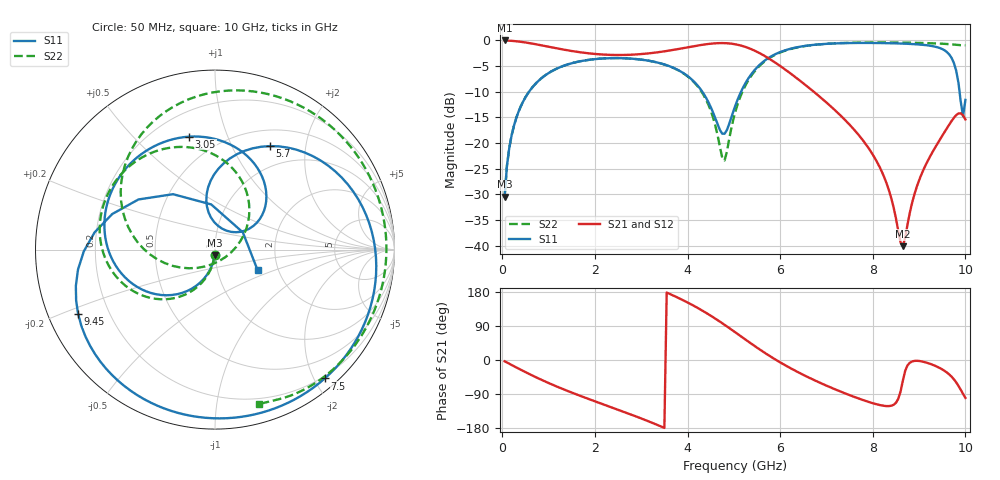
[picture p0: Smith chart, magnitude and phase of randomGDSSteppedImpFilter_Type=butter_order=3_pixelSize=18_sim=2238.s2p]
! freq	dB(S11)	phase(S11)	dB(S12)	phase(S12)
!  dB(S21)	phase(S21)	dB(S22)	phase(S22)
!S-par simulation data
#  GHz  S  DB  R 50
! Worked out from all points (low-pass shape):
!   200 points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, 50 MHz to 10 GHz, reference 50 ohm
!   highest |S21| = -0.01 dB at 50 MHz (marker M1); lowest = -40.1 dB at 8.65 GHz (marker M2)
!   |S21| within 3 dB of the highest: start of sweep to 5.661 GHz
!   lowest |S11| = -30.4 dB at 50 MHz (marker M3), VSWR 1.06, Z = 49.7 - j2.98 ohm
!   |S11| at or under -10 dB: start of sweep to 578 MHz; 4.319 GHz to 5.155 GHz (836.1 MHz wide, 17.7 % of centre); 9.874 GHz to end of sweep
!   |S22| runs from -30.4 to -0.4 dB; largest |S21 - S12| = 0
!   S11 on the Smith chart (normalised r, x): 50 MHz: 0.99, -0.06; 3.05 GHz: 0.34, +0.74; 5.7 GHz: 0.70, +1.41; 7.5 GHz: 0.17, -2.16; 9.45 GHz: 0.09, -0.22; 10 GHz: 1.56, -0.38
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0.05  -30.45 -93.6  -0.01 -3.3  -0.01 -3.3  -30.45 -93.3
0.2  -18.55 -104.2  -0.08 -13.1  -0.08 -13.1  -18.55 -102.9
0.5  -11.08 -124.1  -0.40 -32.0  -0.40 -32.0  -11.08 -121.0
1.05  -6.09 -157.2  -1.32 -63.4  -1.32 -63.4  -6.08 -150.7
1.75  -3.95 166.2  -2.39 -97.7  -2.39 -97.7  -3.94 177.5
3.05  -3.80 102.9  -2.62 -156.6  -2.62 -156.6  -3.80 123.7
3.4  -4.42 84.7  -2.26 -174.0  -2.26 -174.0  -4.43 107.7
4.3  -9.75 36.2  -0.88 131.7  -0.88 131.7  -9.97 53.3
4.8  -18.18 71.4  -0.53 92.9  -0.53 92.9  -23.39 -69.2
5.05  -12.27 100.6  -0.78 71.4  -0.78 71.4  -13.35 -152.2
5.7  -3.71 62.1  -3.21 16.4  -3.21 16.4  -3.85 144.5
6.2  -1.68 26.1  -6.28 -20.0  -6.28 -20.0  -1.74 109.2
6.7  -0.89 -5.7  -9.80 -51.1  -9.80 -51.1  -0.90 79.4
7.5  -0.51 -49.6  -16.43 -92.7  -16.43 -92.7  -0.46 37.7
8.35  -0.54 -90.8  -29.23 -121.6  -29.23 -121.6  -0.40 -2.7
8.65  -0.62 -105.3  -40.09 -54.3  -40.09 -54.3  -0.43 -16.3
8.95  -0.76 -120.8  -28.52 -2.1  -28.52 -2.1  -0.48 -29.8
9.45  -1.49 -154.9  -19.31 -21.4  -19.31 -21.4  -0.62 -51.7
9.7  -3.37 171.9  -15.73 -43.8  -15.73 -43.8  -0.76 -62.6
9.85  -8.24 127.1  -14.23 -68.2  -14.23 -68.2  -0.90 -68.6
9.95  -14.77 31.8  -14.61 -89.8  -14.61 -89.8  -0.95 -72.2
10  -11.59 -25.7  -15.39 -99.9  -15.39 -99.9  -0.95 -74.0
